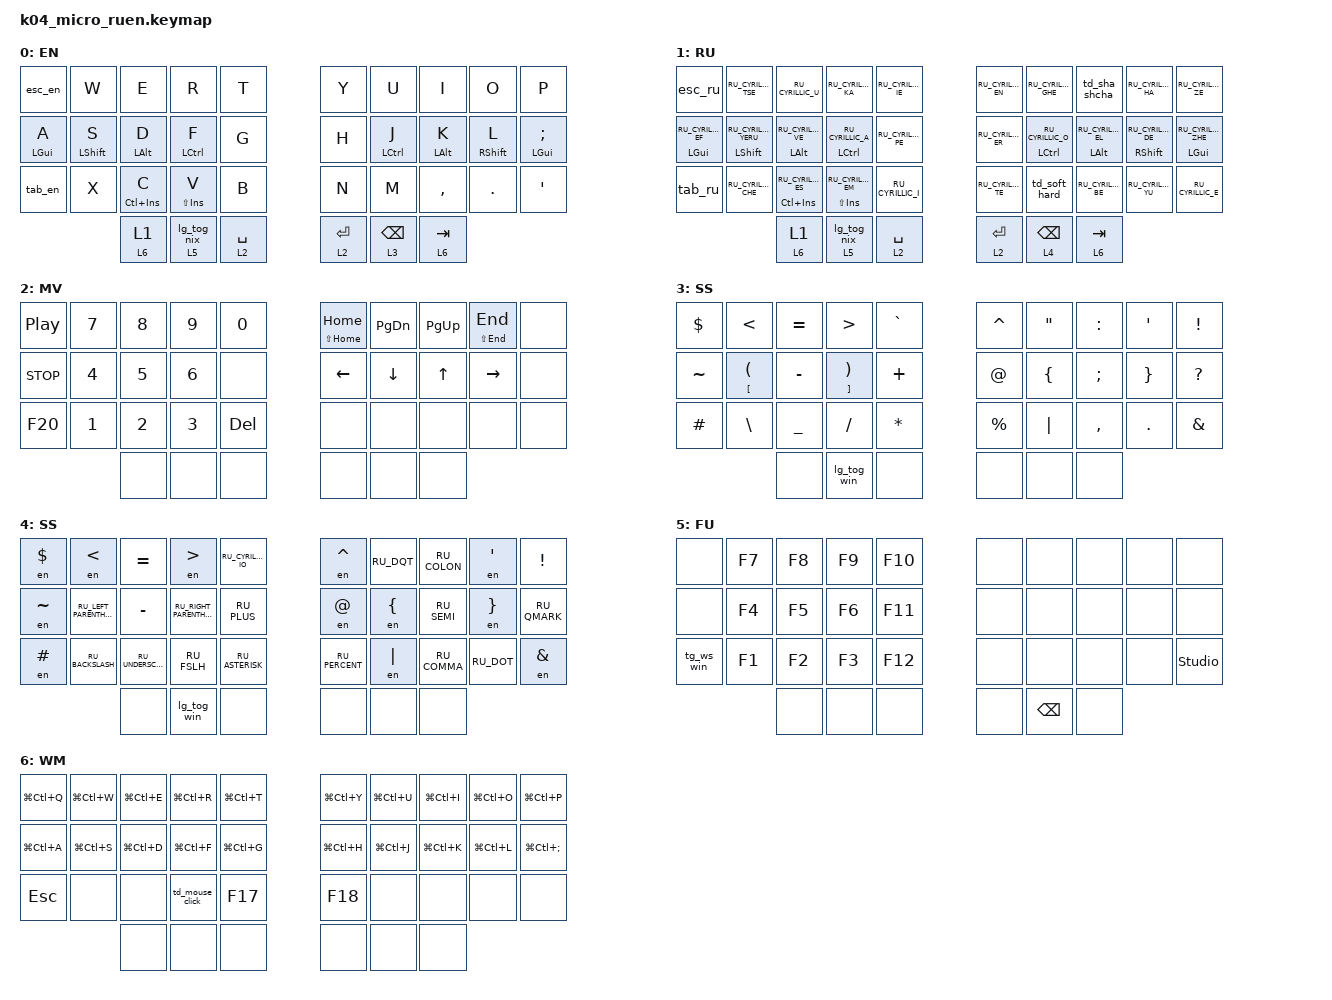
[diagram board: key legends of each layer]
/*
 * K:04 Micro — RU/EN вариант (аналог op36_ruen.keymap)
 * Слой Mouse включается сам при движении трекбола (zip_auto_mouse).
 */

#include "keys_ru.h"
#include <dt-bindings/zmk/input_transform.h>
#include <input/processors.dtsi>
#include <zephyr/dt-bindings/input/input-event-codes.h>
#include <behaviors/input_gestures_accel.dtsi>
#include <dt-bindings/zmk/mouse-gesture.h>
#include <behaviors/split_conn_ladder.dtsi>
#include <dt-bindings/zmk/split_conn_ladder.h>
#include <behaviors/ble_host_link.dtsi>
#include <dt-bindings/zmk/ble_host_link.h>
#include <behaviors.dtsi>
#include <dt-bindings/zmk/keys.h>
#include <dt-bindings/zmk/pointing.h>

/ {
    input_processors {
        xy_fine: xy_fine {
            compatible = "zmk,input-processor-scaler";
            #input-processor-cells = <2>;
            type = <INPUT_EV_REL>;
            codes = <INPUT_REL_X INPUT_REL_Y>;
            track-remainders;
        };
    };

    accel_scroll: accel_scroll {
        compatible = "zmk,input-processor-acceleration";
        status = "okay";
        #input-processor-cells = <0>;
        input-type = <INPUT_EV_REL>;
        track-remainders;
        min-factor = <1000>;
        max-factor = <8000>;
        speed-threshold = <1000>;
        speed-max = <12000>;
        acceleration-exponent = <3>;
    };
};

&pointer_accel {
    input-type = <INPUT_EV_REL>;
    track-remainders;
    min-factor = <1000>;
    max-factor = <6000>;
    speed-threshold = <100>;
    speed-max = <16000>;
    acceleration-exponent = <2>;
};

/ {
    behaviors {
        zip_auto_mouse: zip_auto_mouse {
            compatible = "zmk,input-processor-temp-layer-keep";
            #input-processor-cells = <2>;
            require-prior-idle-ms = <300>;
            excluded-positions = <0 10 11 12 13 20>;
            keep-active-while-layers = <8 9 10>;
        };

        td_lang_nix: td_lang_nix {
            compatible = "zmk,behavior-hold-tap";
            label = "TD_LANG_NIX";
            bindings = <&mo>, <&lg_tog_nix>;

            #binding-cells = <2>;
            tapping-term-ms = <125>;
        };

        mt_tog_125: mt_tog_125 {
            compatible = "zmk,behavior-hold-tap";
            label = "MT_TOG_125";
            bindings = <&mo>, <&tog>;

            #binding-cells = <2>;
            tapping-term-ms = <125>;
        };

        ht_200: ht_200 {
            compatible = "zmk,behavior-hold-tap";
            label = "HT_200";
            bindings = <&kp>, <&kp>;

            #binding-cells = <2>;
            tapping-term-ms = <200>;
        };

        ht_150: ht_150 {
            compatible = "zmk,behavior-hold-tap";
            label = "HT_150";
            bindings = <&kp>, <&kp>;

            #binding-cells = <2>;
            tapping-term-ms = <150>;
        };

        ht_250: ht_250 {
            compatible = "zmk,behavior-hold-tap";
            label = "HT_250";
            bindings = <&kp>, <&kp>;

            #binding-cells = <2>;
            tapping-term-ms = <250>;
        };

        esc_en: esc_en {
            compatible = "zmk,behavior-tap-dance";
            label = "ESC_EN";
            #binding-cells = <0>;
            tapping-term-ms = <300>;
            bindings = <&kp Q>, <&kp ESC>;
        };

        esc_ru: esc_ru {
            compatible = "zmk,behavior-tap-dance";
            label = "ESC_RU";
            #binding-cells = <0>;
            tapping-term-ms = <300>;
            bindings = <&kp RU_CYRILLIC_SHORT_I>, <&kp ESC>;
        };

        mt_kp_125: mt_kp_125 {
            compatible = "zmk,behavior-hold-tap";
            label = "MT_KP_125";
            bindings = <&mo>, <&kp>;

            #binding-cells = <2>;
            tapping-term-ms = <125>;
        };

        tg_ws_win: tg_ws_win {
            compatible = "zmk,behavior-tap-dance";
            label = "TG_WS_WIN";
            #binding-cells = <0>;
            tapping-term-ms = <250>;
            bindings = <&kp LG(LC(RIGHT))>, <&kp LG(LC(LEFT_ARROW))>;
        };

        td_sha_shcha: td_sha_shcha {
            compatible = "zmk,behavior-tap-dance";
            label = "TD_SHA_SHCHA";
            #binding-cells = <0>;
            bindings = <&kp RU_CYRILLIC_SHA>, <&kp RU_CYRILLIC_SHCHA>;

            tapping-term-ms = <225>;
        };

        td_soft_hard: td_soft_hard {
            compatible = "zmk,behavior-tap-dance";
            label = "TD_SOFT_HARD";
            #binding-cells = <0>;
            bindings = <&kp RU_CYRILLIC_SOFT_SIGN>, <&kp RU_CYRILLIC_HARD_SIGN>;

            tapping-term-ms = <225>;
        };

        td_mouse_click: td_mouse_click {
            compatible = "zmk,behavior-tap-dance";
            label = "TD_MOUSE_CLICK";
            #binding-cells = <0>;
            bindings = <&mkp LCLK>, <&mkp RCLK>;

            tapping-term-ms = <250>;
        };

        tab_en: tab_en {
            compatible = "zmk,behavior-tap-dance";
            label = "TAB_EN";
            #binding-cells = <0>;
            bindings = <&kp Z>, <&kp TAB>;

            tapping-term-ms = <300>;
        };

        tab_ru: tab_ru {
            compatible = "zmk,behavior-tap-dance";
            label = "TAB_RU";
            #binding-cells = <0>;
            bindings = <&kp RU_CYRILLIC_YA>, <&kp TAB>;

            tapping-term-ms = <300>;
        };
    };

    combos {
        compatible = "zmk,combos";

        h0 {
            bindings = <&a0>;
            key-positions = <13 14>;
        };

        w1 {
            bindings = <&v7>;
            key-positions = <2 3>;
        };

        w2 {
            bindings = <&v4>;
            key-positions = <22 23>;
        };

        combo_m1 {
            bindings = <&mkp LCLK>;
            key-positions = <13 12>;
        };

        combo_m2 {
            bindings = <&mkp RCLK>;
            key-positions = <12 11>;
        };

        combo_m3 {
            bindings = <&mkp MCLK>;
            key-positions = <11 13>;
        };
    };

    macros {
        to_ru: to_ru {
            compatible = "zmk,behavior-macro";
            #binding-cells = <0>;
            bindings = <&kp LA(LS(N1))>;
            label = "TO_RU";
            wait-ms = <0>;
            tap-ms = <30>;
        };

        to_en: to_en {
            compatible = "zmk,behavior-macro";
            #binding-cells = <0>;
            bindings = <&kp LA(LS(N0))>;
            label = "TO_EN";
            wait-ms = <0>;
            tap-ms = <30>;
        };

        layer_en: layer_en {
            compatible = "zmk,behavior-macro";
            #binding-cells = <0>;
            bindings = <&to 0 &to_en>;
            label = "LAYER_EN";
            wait-ms = <0>;
            tap-ms = <30>;
        };

        layer_ru: layer_ru {
            compatible = "zmk,behavior-macro";
            #binding-cells = <0>;
            bindings = <&to 1 &to_ru>;
            label = "LAYER_RU";
            tap-ms = <30>;
            wait-ms = <0>;
        };

        en: en {
            compatible = "zmk,behavior-macro-one-param";
            #binding-cells = <1>;
            bindings =
                <&to_en>,
                <&macro_press>,
                <&macro_param_1to1 &kp MACRO_PLACEHOLDER>,
                <&macro_pause_for_release>,
                <&macro_release>,
                <&macro_param_1to1 &kp MACRO_PLACEHOLDER>,
                <&macro_tap>,
                <&to_ru>;

            label = "EN";
            wait-ms = <0>;
            tap-ms = <30>;
        };

        lg_tog_nix: lg_tog_nix {
            compatible = "zmk,behavior-macro";
            #binding-cells = <0>;
            bindings = <&kp CAPS &tog 1>;
            label = "LG_TOG_NIX";
        };

        lg_tog_win: lg_tog_win {
            compatible = "zmk,behavior-macro";
            #binding-cells = <0>;
            bindings = <&kp LA(LEFT_SHIFT) &tog 1>;
            label = "LG_TOG_WIN";
        };

        a0: a0 {
            compatible = "zmk,behavior-macro";
            #binding-cells = <0>;
            bindings = <&none &kp PRCNT &kp X &kp LS(K) &kp K &kp LS(U) &kp EXCL &kp H &kp N7 &kp RET>;
            label = "A0";
        };

        v4: v4 {
            compatible = "zmk,behavior-macro";
            #binding-cells = <0>;
            bindings = <&none &kp D &kp E &kp C &kp A &kp FSLH &kp X &kp N3 &kp LS(E) &kp I &kp D &kp O &kp O &kp N4 &kp N6 &kp N4 &kp N6>;
            label = "V4";
        };

        v7: v7 {
            compatible = "zmk,behavior-macro";
            #binding-cells = <0>;
            bindings = <&none &kp D &kp E &kp C &kp A &kp FSLH &kp X &kp N3 &kp LS(E) &kp I &kp D &kp O &kp O &kp N8 &kp N6 &kp N8 &kp N6>;
            label = "V7";
        };
    };

    keymap {
        compatible = "zmk,keymap";

        en {
            bindings = <
&esc_en             &kp W                 &kp E               &kp R                   &kp T                                       &kp Y            &kp U                   &kp I               &kp O                  &kp P
&ht_200 LEFT_GUI A  &ht_200 LEFT_SHIFT S  &ht_200 LEFT_ALT D  &ht_200 LEFT_CONTROL F  &kp G                                       &kp H            &ht_200 LEFT_CONTROL J  &ht_200 LEFT_ALT K  &ht_200 RIGHT_SHIFT L  &ht_200 LEFT_GUI SEMICOLON
&tab_en             &kp X                 &ht_150 LC(INS) C   &ht_250 LS(INS) V       &kp B                                       &kp N            &kp M                   &kp COMMA           &kp DOT                &kp SQT
                                                              &mt_tog_125 6 1         &td_lang_nix 5 0  &lt 2 SPACE    &lt 2 RET  &lt 3 BACKSPACE  &mt_kp_125 6 TAB
            >;

            display-name = "EN";
        };

        ru {
            bindings = <
&esc_ru                          &kp RU_CYRILLIC_TSE                  &kp RU_CYRILLIC_U                  &kp RU_CYRILLIC_KA              &kp RU_CYRILLIC_IE                              &kp RU_CYRILLIC_EN  &kp RU_CYRILLIC_GHE          &td_sha_shcha                    &kp RU_CYRILLIC_HA                  &kp RU_CYRILLIC_ZE
&ht_200 LEFT_GUI RU_CYRILLIC_EF  &ht_200 LEFT_SHIFT RU_CYRILLIC_YERU  &ht_200 LEFT_ALT RU_CYRILLIC_VE    &ht_200 LCTRL RU_CYRILLIC_A     &kp RU_CYRILLIC_PE                              &kp RU_CYRILLIC_ER  &ht_200 LCTRL RU_CYRILLIC_O  &ht_200 LEFT_ALT RU_CYRILLIC_EL  &ht_200 RIGHT_SHIFT RU_CYRILLIC_DE  &ht_200 LEFT_GUI RU_CYRILLIC_ZHE
&tab_ru                          &kp RU_CYRILLIC_CHE                  &ht_150 LC(INSERT) RU_CYRILLIC_ES  &ht_250 LS(INS) RU_CYRILLIC_EM  &kp RU_CYRILLIC_I                               &kp RU_CYRILLIC_TE  &td_soft_hard                &kp RU_CYRILLIC_BE               &kp RU_CYRILLIC_YU                  &kp RU_CYRILLIC_E
                                                                                                         &mt_tog_125 6 1                 &td_lang_nix 5 0    &lt 2 SPACE    &lt 2 ENTER  &lt 4 BACKSPACE     &mt_kp_125 6 TAB
            >;

            display-name = "RU";
        };

        nav {
            bindings = <
&kp C_PP    &kp N7  &kp N8  &kp N9  &kp N0                      &ht_200 LS(HOME) HOME  &kp PAGE_DOWN   &kp PAGE_UP   &ht_200 LS(END) END  &none
&kp C_STOP  &kp N4  &kp N5  &kp N6  &none                       &kp LEFT_ARROW         &kp DOWN_ARROW  &kp UP_ARROW  &kp RIGHT_ARROW      &none
&kp F20     &kp N1  &kp N2  &kp N3  &kp DELETE                  &none                  &none           &none         &none                &none
                            &none   &none       &none    &none  &none                  &none
            >;

            display-name = "MV";
        };

        sym_en {
            bindings = <
&kp DOLLAR  &kp LT                     &kp EQUAL  &kp GT                      &kp GRAVE                    &kp CARET    &kp DQT         &kp COLON  &kp SQT          &kp EXCL
&kp TILDE   &ht_250 LEFT_BRACKET LPAR  &kp MINUS  &ht_250 RIGHT_BRACKET RPAR  &kp PLUS                     &kp AT_SIGN  &kp LEFT_BRACE  &kp SEMI   &kp RIGHT_BRACE  &kp QMARK
&kp HASH    &kp BSLH                   &kp UNDER  &kp FSLH                    &kp ASTRK                    &kp PRCNT    &kp PIPE        &kp COMMA  &kp DOT          &kp AMPERSAND
                                                  &none                       &lg_tog_win  &none    &none  &none        &none
            >;

            display-name = "SS";
        };

        sym_ru {
            display-name = "SS";
            bindings = <
&en DOLLAR  &en LT                   &kp EQUAL          &en GT                    &kp RU_CYRILLIC_IO                  &en CARET       &kp RU_DQT      &kp RU_COLON  &en SQT          &kp EXCL
&en TILDE   &kp RU_LEFT_PARENTHESIS  &kp MINUS          &kp RU_RIGHT_PARENTHESIS  &kp RU_PLUS                         &en AT_SIGN     &en LEFT_BRACE  &kp RU_SEMI   &en RIGHT_BRACE  &kp RU_QMARK
&en HASH    &kp RU_BACKSLASH         &kp RU_UNDERSCORE  &kp RU_FSLH               &kp RU_ASTERISK                     &kp RU_PERCENT  &en PIPE        &kp RU_COMMA  &kp RU_DOT       &en AMPERSAND
                                                        &none                     &lg_tog_win         &none    &none  &none           &none
            >;
        };

        adj {
            bindings = <
&none       &kp F7  &kp F8  &kp F9  &kp F10                  &none          &none  &none  &none  &none
&none       &kp F4  &kp F5  &kp F6  &kp F11                  &none          &none  &none  &none  &none
&tg_ws_win  &kp F1  &kp F2  &kp F3  &kp F12                  &none          &none  &none  &none  &studio_unlock
                            &none   &none    &none    &none  &kp BACKSPACE  &none
            >;

            display-name = "FU";
        };

        mango {
            bindings = <
&kp LG(LC(Q))  &kp LG(LC(W))  &kp LG(LC(E))  &kp LG(LC(R))    &kp LG(LC(T))                  &kp LG(LC(Y))  &kp LG(LC(U))  &kp LG(LC(I))  &kp LG(LC(O))  &kp LG(LC(P))
&kp LG(LC(A))  &kp LG(LC(S))  &kp LG(LC(D))  &kp LG(LC(F))    &kp LG(LC(G))                  &kp LG(LC(H))  &kp LG(LC(J))  &kp LG(LC(K))  &kp LG(LC(L))  &kp LG(LC(SEMI))
&kp ESC        &none          &none          &td_mouse_click  &kp F17                        &kp F18        &none          &none          &none          &none
                                             &none            &none          &none    &none  &none          &none
            >;

            label = "WM";
        };

        /* Layer 11. Host link tests: intervals in 1.25 ms units, latency in
           connection events, ball reports in ms. Reach it with &to 11 (bind it
           where you like, or through ZMK Studio); &to 0 on both outer thumbs
           leaves it. */
    };
};

&trackball_listener {
    input-processors = <&pointer_accel>, <&xy_fine 2 5>;

    scroller {
        layers = <6>;
        input-processors =
            <&zip_xy_transform INPUT_TRANSFORM_Y_INVERT>,
            <&accel_scroll>,
            <&xy_fine 1 100>,
            <&zip_xy_to_scroll_mapper>;
    };
};
